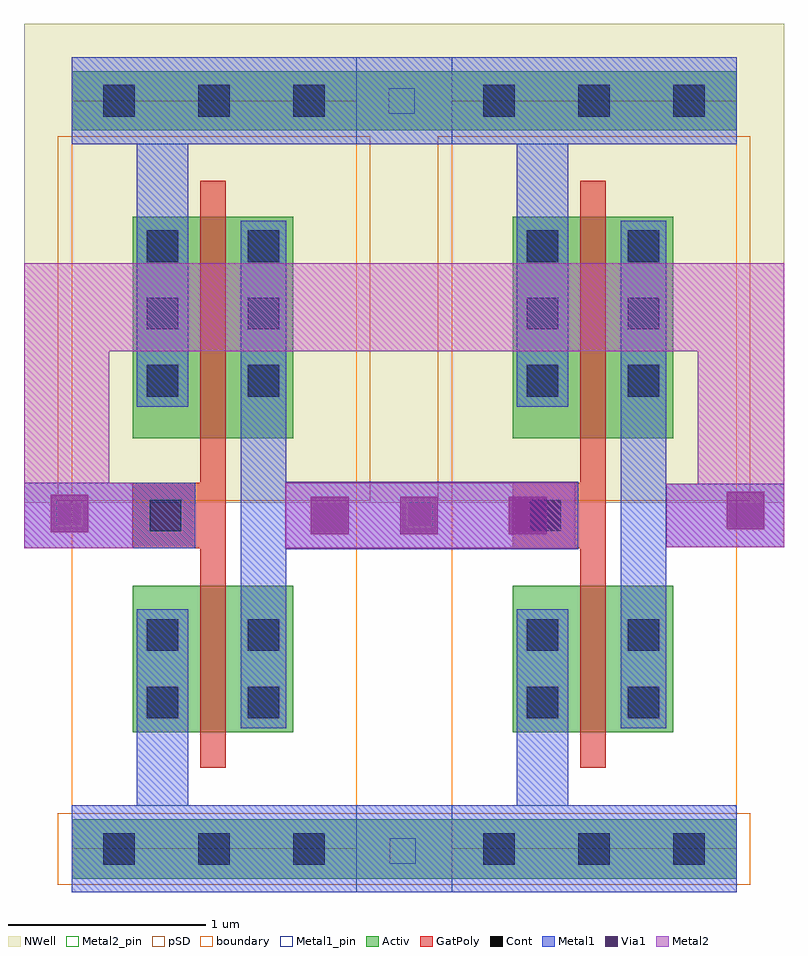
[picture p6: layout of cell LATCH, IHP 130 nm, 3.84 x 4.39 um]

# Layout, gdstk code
import gdstk
lib = gdstk.Library(unit=1e-6, precision=1e-09)
def R(c, l, rs):  # rectangles x0, y0, x1, y1
    for r in rs: c.add(gdstk.rectangle(r[:2], r[2:], *l))
def A(c, l, x, y, w, h, nx, ny, dx, dy):  # array of equal rectangles
    R(c, l, [(x+i*dx, y+j*dy, x+i*dx+w, y+j*dy+h) for i in range(nx) for j in range(ny)])
def P(c, l, *ps):  # polygons
    for p in ps: c.add(gdstk.Polygon(p, *l))
Activ = (1, 0)
GatPoly = (5, 0)
Cont = (6, 0)
Metal1 = (8, 0)
Metal1_pin = (8, 2)
Metal2 = (10, 0)
Metal2_pin = (10, 2)
pSD = (14, 0)
Via1 = (19, 0)
NWell = (31, 0)
boundary = (189, 4)

latch1 = lib.new_cell('LATCH1')
R(latch1, Activ, [(0.24,0.07,1.68,0.37), (1.68,0.07,2.16,0.37), (2.16,0.07,3.6,0.37), (0.55,0.81,1.36,1.55), (2.47,0.81,3.28,1.55), (0.55,2.295,1.36,3.415), (2.47,2.295,3.28,3.415), (0.24,3.85,1.68,4.15), (1.68,3.85,2.162,4.15), (2.16,3.85,3.6,4.15)])
P(latch1, GatPoly, [(0.89,0.63),(0.89,1.74),(0.55,1.74),(0.55,2.07),(0.89,2.07),(0.89,3.595),(1.02,3.595),(1.02,0.63)],
  [(2.81,0.63),(2.81,1.74),(2.47,1.74),(2.47,2.07),(2.81,2.07),(2.81,3.595),(2.94,3.595),(2.94,0.63)])
A(latch1, Cont, 0.62, 2.505, 0.16, 0.16, 1, 3, 0, 0.34)
A(latch1, Cont, 1.13, 2.505, 0.16, 0.16, 1, 3, 0, 0.34)
A(latch1, Cont, 2.54, 2.505, 0.16, 0.16, 1, 3, 0, 0.34)
A(latch1, Cont, 3.05, 2.505, 0.16, 0.16, 1, 3, 0, 0.34)
R(latch1, Cont, [(0.4,0.14,0.56,0.3), (0.4,0.14,0.56,0.3), (0.88,0.14,1.04,0.3), (0.88,0.14,1.04,0.3), (1.36,0.14,1.52,0.3), (1.36,0.14,1.52,0.3), (2.32,0.14,2.48,0.3), (2.32,0.14,2.48,0.3), (2.8,0.14,2.96,0.3), (2.8,0.14,2.96,0.3), (3.28,0.14,3.44,0.3), (3.28,0.14,3.44,0.3), (0.62,0.88,0.78,1.04), (1.13,0.88,1.29,1.04), (2.54,0.88,2.7,1.04), (3.05,0.88,3.21,1.04), (0.62,1.22,0.78,1.38), (1.13,1.22,1.29,1.38), (2.54,1.22,2.7,1.38), (3.05,1.22,3.21,1.38), (0.635,1.825,0.795,1.985), (2.555,1.825,2.715,1.985), (0.4,3.92,0.56,4.08), (0.4,3.92,0.56,4.08), (0.88,3.92,1.04,4.08), (0.88,3.92,1.04,4.08), (1.36,3.92,1.52,4.08), (1.36,3.92,1.52,4.08), (2.32,3.92,2.48,4.08), (2.32,3.92,2.48,4.08), (2.8,3.92,2.96,4.08), (2.8,3.92,2.96,4.08), (3.28,3.92,3.44,4.08), (3.28,3.92,3.44,4.08)])
R(latch1, Metal1, [(1.68,0,2.16,0.44), (1.095,0.83,1.325,3.395), (3.015,0.83,3.245,3.395), (1.325,1.735,2.8,2.075), (0,1.74,0.865,2.07), (0.55,1.74,0.865,2.07), (2.47,1.745,2.79,2.07), (3.015,1.745,3.84,2.065), (1.68,3.78,2.162,4.22)])
P(latch1, Metal1, [(0.57,2.455),(0.57,3.78),(0.24,3.78),(0.24,4.22),(1.68,4.22),(1.68,3.78),(0.83,3.78),(0.83,2.455)],
  [(0.24,0),(0.24,0.44),(0.57,0.44),(0.57,1.43),(0.83,1.43),(0.83,0.44),(1.68,0.44),(1.68,0)],
  [(2.49,2.455),(2.49,3.78),(2.16,3.78),(2.16,4.22),(3.6,4.22),(3.6,3.78),(2.75,3.78),(2.75,2.455)],
  [(2.16,0),(2.16,0.44),(2.49,0.44),(2.49,1.43),(2.75,1.43),(2.75,0.44),(3.6,0.44),(3.6,0)])
R(latch1, Metal1_pin, [(0.24,0,1.68,0.44), (2.16,0,3.6,0.44), (1.849,0.144,1.979,0.274), (1.095,0.83,1.325,3.395), (3.015,0.83,3.245,3.395), (0.55,1.74,0.865,2.07), (2.47,1.74,2.8,2.07), (0.24,3.78,1.68,4.22), (2.16,3.78,3.6,4.22), (1.844,3.934,1.974,4.064)])
R(latch1, Metal2, [(0,1.74,0.55,2.07), (0,1.74,0.43,2.07), (1.32,1.74,2.785,2.07), (3.245,1.745,3.84,2.065), (3.405,2.064,3.84,3.18), (0,2.069,0.43,3.18), (0,2.735,3.837,3.18)])
P(latch1, Metal2, [(3.405,1.745),(3.405,1.745),(3.84,1.745),(3.84,1.745)])
R(latch1, Metal2_pin, [(1.935,1.845,2.065,1.975), (0.164,1.849,0.294,1.979)])
R(latch1, pSD, [(0.17,0.04,1.75,0.4), (1.75,0.04,2.09,0.4), (2.09,0.04,3.67,0.4), (0.17,1.98,1.75,3.82), (2.09,1.98,3.67,3.82)])
R(latch1, Via1, [(1.9,1.81,2.09,2), (0.135,1.82,0.325,2.01), (3.55,1.835,3.74,2.025)])
R(latch1, NWell, [(0,1.97,1.92,4.39), (1.92,1.97,3.84,4.39)])
R(latch1, boundary, [(0.24,0.22,1.68,4), (2.16,0.22,3.6,4)])
latch1.add(gdstk.Label('VDD', (1.91,4), layer=8, texttype=25))
latch1.add(gdstk.Label('VSS', (1.915,0.21), layer=8, texttype=25))
latch1.add(gdstk.Label('Y', (1.221,1.911), layer=8, texttype=25))
latch1.add(gdstk.Label('A', (0.721,1.901), layer=8, texttype=25))
latch1.add(gdstk.Label('VSS', (0.961,0.201), layer=8, texttype=25))
latch1.add(gdstk.Label('VDD', (0.946,4.001), layer=8, texttype=25))
latch1.add(gdstk.Label('Y', (3.141,1.911), layer=8, texttype=25))
latch1.add(gdstk.Label('A', (2.641,1.901), layer=8, texttype=25))
latch1.add(gdstk.Label('VSS', (2.881,0.201), layer=8, texttype=25))
latch1.add(gdstk.Label('VDD', (2.866,4.001), layer=8, texttype=25))
latch1.add(gdstk.Label('V1', (0.23,1.915), layer=10, texttype=25))
latch1.add(gdstk.Label('V2', (1.91,1.92), layer=10, texttype=25))

latch = lib.new_cell('LATCH')
R(latch, Metal2, [(1.325,1.74,2.785,2.069), (1.325,1.74,2.785,2.069), (1.33,1.74,2.785,2.069)])
R(latch, Via1, [(1.45,1.81,1.64,2), (2.45,1.81,2.64,2)])
latch.add(gdstk.Reference(latch1, (0,0)))

lib.write_gds('LATCH.gds')
